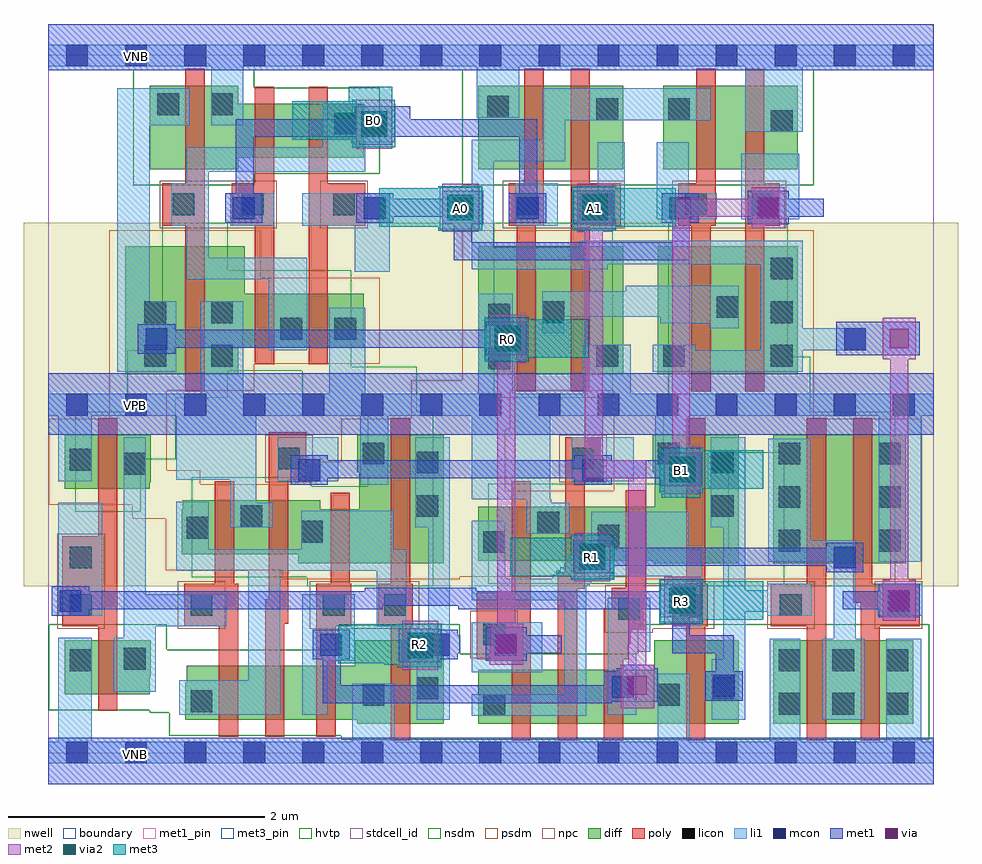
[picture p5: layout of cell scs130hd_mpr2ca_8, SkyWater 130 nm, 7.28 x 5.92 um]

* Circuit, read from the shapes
.subckt scs130hd_mpr2ca_8 A0 A1 B0 B1 R0 R1 R2 R3 VNB VPB vgnd vpwr
XM1 n1 R3 vgnd VNB sky130_fd_pr__nfet_01v8 w=0.42 l=0.15
XM2 vgnd n2 R0 VNB sky130_fd_pr__nfet_01v8 w=0.65 l=0.15
XM3 n3 n1 n4 VNB sky130_fd_pr__nfet_01v8 w=0.42 l=0.15
XM4 n5 B0 vgnd VNB sky130_fd_pr__nfet_01v8 w=0.42 l=0.15
XM5 n6 B1 n3 VNB sky130_fd_pr__nfet_01v8 w=0.42 l=0.15
XM6 n2 A0 n5 VNB sky130_fd_pr__nfet_01v8 w=0.42 l=0.15
XM7 vgnd A1 n6 VNB sky130_fd_pr__nfet_01v8 w=0.42 l=0.15
XM8 R2 n4 vgnd VNB sky130_fd_pr__nfet_01v8 w=0.65 l=0.15
XM9 n7 R0 n8 VNB sky130_fd_pr__nfet_01v8 w=0.42 l=0.15
XM10 n9 B0 vgnd VNB sky130_fd_pr__nfet_01v8 w=0.65 l=0.15
XM11 n10 B1 n7 VNB sky130_fd_pr__nfet_01v8 w=0.42 l=0.15
XM12 n11 A1 n9 VNB sky130_fd_pr__nfet_01v8 w=0.65 l=0.15
XM13 vgnd A1 n10 VNB sky130_fd_pr__nfet_01v8 w=0.42 l=0.15
XM14 R3 n8 vgnd VNB sky130_fd_pr__nfet_01v8 w=0.65 l=0.15
XM15 n12 A0 n11 VNB sky130_fd_pr__nfet_01v8 w=0.65 l=0.15
XM16 vgnd B1 n12 VNB sky130_fd_pr__nfet_01v8 w=0.65 l=0.15
XM17 R1 R3 vgnd VNB sky130_fd_pr__nfet_01v8 w=0.65 l=0.15
XM18 vgnd n11 R1 VNB sky130_fd_pr__nfet_01v8 w=0.65 l=0.15
XM19 n1 R3 vpwr VPB sky130_fd_pr__pfet_01v8_hvt w=0.42 l=0.15
XM20 vpwr n2 R0 VPB sky130_fd_pr__pfet_01v8_hvt w=1 l=0.15
XM21 vpwr n1 n4 VPB sky130_fd_pr__pfet_01v8_hvt w=0.42 l=0.15
XM22 n2 B0 vpwr VPB sky130_fd_pr__pfet_01v8_hvt w=0.42 l=0.15
XM23 n4 B1 vpwr VPB sky130_fd_pr__pfet_01v8_hvt w=0.42 l=0.15
XM24 vpwr A0 n2 VPB sky130_fd_pr__pfet_01v8_hvt w=0.42 l=0.15
XM25 vpwr A1 n4 VPB sky130_fd_pr__pfet_01v8_hvt w=0.42 l=0.15
XM26 R2 n4 vpwr VPB sky130_fd_pr__pfet_01v8_hvt w=1 l=0.15
XM27 vpwr R0 n8 VPB sky130_fd_pr__pfet_01v8_hvt w=0.42 l=0.15
XM28 n13 B0 vpwr VPB sky130_fd_pr__pfet_01v8_hvt w=1 l=0.15
XM29 n8 B1 vpwr VPB sky130_fd_pr__pfet_01v8_hvt w=0.42 l=0.15
XM30 vpwr A1 n13 VPB sky130_fd_pr__pfet_01v8_hvt w=1 l=0.15
XM31 vpwr A1 n8 VPB sky130_fd_pr__pfet_01v8_hvt w=0.42 l=0.15
XM32 R3 n8 vpwr VPB sky130_fd_pr__pfet_01v8_hvt w=1 l=0.15
XM33 n13 A0 n11 VPB sky130_fd_pr__pfet_01v8_hvt w=1 l=0.15
XM34 n11 B1 n13 VPB sky130_fd_pr__pfet_01v8_hvt w=1 l=0.15
XM35 n14 R3 R1 VPB sky130_fd_pr__pfet_01v8_hvt w=1 l=0.15
XM36 vpwr n11 n14 VPB sky130_fd_pr__pfet_01v8_hvt w=1 l=0.15
.ends

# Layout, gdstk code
import gdstk
lib = gdstk.Library(unit=1e-6, precision=1e-09)
def R(c, l, rs):  # rectangles x0, y0, x1, y1
    for r in rs: c.add(gdstk.rectangle(r[:2], r[2:], *l))
nwell = (64, 20)
diff = (65, 20)
poly = (66, 20)
licon = (66, 44)
li1 = (67, 20)
mcon = (67, 44)
met1_pin = (68, 16)
met1 = (68, 20)
via = (68, 44)
met2 = (69, 20)
via2 = (69, 44)
met3_pin = (70, 16)
met3 = (70, 20)
hvtp = (78, 44)
stdcell_id = (81, 4)
nsdm = (93, 44)
psdm = (94, 20)
npc = (95, 20)
boundary = (235, 4)

scs130hd_mpr2ca_8 = lib.new_cell('scs130hd_mpr2ca_8')
R(scs130hd_mpr2ca_8, nwell, [(-0.19,1.3,7.09,4.13), (-0.19,1.3,7.09,4.13)])
R(scs130hd_mpr2ca_8, diff, [(2.41,0.23,3.08,0.26), (2.41,0.23,3.08,0.26), (3.35,0.23,5.38,0.65), (3.35,0.23,5.38,0.65), (5.65,0.23,6.74,0.88), (5.65,0.23,6.74,0.88), (1.07,0.26,3.08,0.55), (1.07,0.26,3.08,0.55), (0.13,0.46,0.79,0.6), (0.13,0.46,0.79,0.6), (1.08,0.55,3.08,0.68), (1.08,0.55,3.08,0.68), (0.13,0.6,0.8,0.88), (0.13,0.6,0.8,0.88), (4.72,0.65,5.38,0.88), (4.72,0.65,5.38,0.88), (2.39,0.68,3.08,0.88), (2.39,0.68,3.08,0.88), (1.95,1.48,3.08,1.55), (1.95,1.48,3.08,1.55), (4.725,1.48,5.38,1.5), (4.725,1.48,5.38,1.5), (5.65,1.48,6.68,2.48), (5.65,1.48,6.68,2.48), (3.35,1.5,5.38,1.92), (3.35,1.5,5.38,1.92), (1.04,1.55,3.08,1.9), (1.04,1.55,3.08,1.9), (1.05,1.9,2.12,1.97), (1.05,1.9,2.12,1.97), (2.425,1.9,3.08,2.19), (2.425,1.9,3.08,2.19), (4.725,1.92,5.38,2.19), (4.725,1.92,5.38,2.19), (0.13,2.06,0.79,2.11), (0.13,2.06,0.79,2.11), (0.13,2.11,0.8,2.48), (0.13,2.11,0.8,2.48), (2.41,2.19,3.08,2.48), (2.41,2.19,3.08,2.48), (4.71,2.19,5.38,2.48), (4.71,2.19,5.38,2.48), (0.6,2.95,1.48,3.16), (0.6,2.95,1.48,3.16), (3.35,2.95,4.48,3.95), (3.35,2.95,4.48,3.95), (4.75,2.95,5.84,3.95), (4.75,2.95,5.84,3.95), (0.6,3.16,2.46,3.58), (0.6,3.16,2.46,3.58), (0.6,3.58,1.53,3.95), (0.6,3.58,1.53,3.95), (0.79,4.55,1.48,4.64), (0.79,4.55,1.48,4.64), (3.35,4.55,4.48,5.2), (3.35,4.55,4.48,5.2), (4.79,4.55,5.84,5.2), (4.79,4.55,5.84,5.2), (0.79,4.64,2.46,5.06), (0.79,4.64,2.46,5.06), (0.79,5.06,1.48,5.2), (0.79,5.06,1.48,5.2)])
R(scs130hd_mpr2ca_8, poly, [(2.67,0.1,2.82,0.99), (2.67,0.1,2.82,0.99), (3.61,0.1,3.76,0.73), (3.61,0.1,3.76,0.73), (3.97,0.1,4.12,1.28), (3.97,0.1,4.12,1.28), (4.33,0.1,4.48,0.73), (4.33,0.1,4.48,0.73), (4.97,0.1,5.12,0.99), (4.97,0.1,5.12,0.99), (5.91,0.1,6.06,0.99), (5.91,0.1,6.06,0.99), (6.33,0.1,6.48,0.99), (6.33,0.1,6.48,0.99), (1.33,0.13,1.48,0.99), (1.33,0.13,1.48,0.99), (1.69,0.13,1.84,1.01), (1.69,0.13,1.84,1.01), (2.09,0.13,2.24,0.99), (2.09,0.13,2.24,0.99), (0.39,0.33,0.54,0.99), (0.39,0.33,0.54,0.99), (3.34,0.73,3.76,1.25), (3.34,0.73,3.76,1.25), (4.33,0.73,4.52,0.85), (4.33,0.73,4.52,0.85), (4.33,0.85,4.54,0.96), (4.33,0.85,4.54,0.96), (4.33,0.96,4.66,1.13), (4.33,0.96,4.66,1.13), (0.11,0.99,0.54,1.69), (0.11,0.99,0.54,1.69), (1.06,0.99,1.48,1.32), (1.06,0.99,1.48,1.32), (2.09,0.99,2.36,1.32), (2.09,0.99,2.36,1.32), (2.57,0.99,2.84,1.32), (2.57,0.99,2.84,1.32), (4.87,0.99,5.14,1.32), (4.87,0.99,5.14,1.32), (5.63,0.99,6.06,1.32), (5.63,0.99,6.06,1.32), (6.33,0.99,6.79,1.17), (6.33,0.99,6.79,1.17), (1.69,1.01,1.87,1.2), (1.69,1.01,1.87,1.2), (4.39,1.13,4.66,1.29), (4.39,1.13,4.66,1.29), (6.27,1.17,6.79,1.32), (6.27,1.17,6.79,1.32), (1.72,1.2,1.87,2.13), (1.72,1.2,1.87,2.13), (3.61,1.25,3.76,2.12), (3.61,1.25,3.76,2.12), (3.97,1.28,4.18,1.41), (3.97,1.28,4.18,1.41), (4.5,1.29,4.65,2.05), (4.5,1.29,4.65,2.05), (1.3,1.32,1.45,2.12), (1.3,1.32,1.45,2.12), (2.2,1.32,2.35,2.03), (2.2,1.32,2.35,2.03), (2.67,1.32,2.82,2.61), (2.67,1.32,2.82,2.61), (4.97,1.32,5.12,2.61), (4.97,1.32,5.12,2.61), (5.91,1.32,6.06,2.61), (5.91,1.32,6.06,2.61), (6.27,1.32,6.42,2.61), (6.27,1.32,6.42,2.61), (4.03,1.41,4.18,2.13), (4.03,1.41,4.18,2.13), (0.39,1.69,0.54,2.61), (0.39,1.69,0.54,2.61), (1.72,2.13,2.01,2.5), (1.72,2.13,2.01,2.5), (4.03,2.13,4.3,2.46), (4.03,2.13,4.3,2.46), (1.07,2.82,1.22,4.11), (1.07,2.82,1.22,4.11), (3.65,2.82,3.8,4.11), (3.65,2.82,3.8,4.11), (4.07,2.82,4.22,4.11), (4.07,2.82,4.22,4.11), (5.01,2.82,5.16,4.11), (5.01,2.82,5.16,4.11), (5.43,2.82,5.58,4.11), (5.43,2.82,5.58,4.11), (1.61,3.03,1.76,4.11), (1.61,3.03,1.76,4.11), (2.03,3.03,2.18,4.11), (2.03,3.03,2.18,4.11), (0.89,4.11,1.22,4.44), (0.89,4.11,1.22,4.44), (1.43,4.11,1.76,4.44), (1.43,4.11,1.76,4.44), (2.03,4.11,2.47,4.44), (2.03,4.11,2.47,4.44), (3.59,4.11,3.86,4.44), (3.59,4.11,3.86,4.44), (4.07,4.11,4.46,4.44), (4.07,4.11,4.46,4.44), (4.91,4.11,5.2,4.44), (4.91,4.11,5.2,4.44), (5.43,4.11,5.7,4.44), (5.43,4.11,5.7,4.44), (1.07,4.44,1.22,5.33), (1.07,4.44,1.22,5.33), (1.61,4.44,1.76,5.19), (1.61,4.44,1.76,5.19), (2.03,4.44,2.18,5.19), (2.03,4.44,2.18,5.19), (3.71,4.44,3.86,5.33), (3.71,4.44,3.86,5.33), (4.07,4.44,4.22,5.33), (4.07,4.44,4.22,5.33), (5.05,4.44,5.2,5.33), (5.05,4.44,5.2,5.33), (5.43,4.44,5.58,5.33), (5.43,4.44,5.58,5.33)])
R(scs130hd_mpr2ca_8, licon, [(3.39,0.29,3.56,0.46), (3.39,0.29,3.56,0.46), (5.69,0.3,5.86,0.47), (5.69,0.3,5.86,0.47), (6.11,0.3,6.28,0.47), (6.11,0.3,6.28,0.47), (6.53,0.3,6.7,0.47), (6.53,0.3,6.7,0.47), (1.11,0.32,1.28,0.49), (1.11,0.32,1.28,0.49), (2.45,0.37,2.62,0.54), (2.45,0.37,2.62,0.54), (4.75,0.37,4.92,0.54), (4.75,0.37,4.92,0.54), (2.87,0.42,3.04,0.59), (2.87,0.42,3.04,0.59), (5.17,0.42,5.34,0.59), (5.17,0.42,5.34,0.59), (0.17,0.64,0.34,0.81), (0.17,0.64,0.34,0.81), (5.69,0.64,5.86,0.81), (5.69,0.64,5.86,0.81), (6.11,0.64,6.28,0.81), (6.11,0.64,6.28,0.81), (6.53,0.64,6.7,0.81), (6.53,0.64,6.7,0.81), (0.59,0.65,0.76,0.82), (0.59,0.65,0.76,0.82), (3.39,0.84,3.56,1.01), (3.39,0.84,3.56,1.01), (4.44,1.04,4.61,1.21), (4.44,1.04,4.61,1.21), (0.17,1.07,0.34,1.24), (0.17,1.07,0.34,1.24), (1.11,1.07,1.28,1.24), (1.11,1.07,1.28,1.24), (2.14,1.07,2.31,1.24), (2.14,1.07,2.31,1.24), (2.62,1.07,2.79,1.24), (2.62,1.07,2.79,1.24), (4.92,1.07,5.09,1.24), (4.92,1.07,5.09,1.24), (5.7,1.07,5.87,1.24), (5.7,1.07,5.87,1.24), (6.54,1.07,6.71,1.24), (6.54,1.07,6.71,1.24), (0.17,1.44,0.34,1.61), (0.17,1.44,0.34,1.61), (3.39,1.56,3.56,1.73), (3.39,1.56,3.56,1.73), (5.69,1.57,5.86,1.74), (5.69,1.57,5.86,1.74), (6.47,1.57,6.64,1.74), (6.47,1.57,6.64,1.74), (4.28,1.61,4.45,1.78), (4.28,1.61,4.45,1.78), (1.97,1.64,2.14,1.81), (1.97,1.64,2.14,1.81), (1.08,1.67,1.25,1.84), (1.08,1.67,1.25,1.84), (3.81,1.71,3.98,1.88), (3.81,1.71,3.98,1.88), (1.5,1.76,1.67,1.93), (1.5,1.76,1.67,1.93), (2.87,1.84,3.04,2.01), (2.87,1.84,3.04,2.01), (5.17,1.84,5.34,2.01), (5.17,1.84,5.34,2.01), (5.69,1.91,5.86,2.08), (5.69,1.91,5.86,2.08), (6.47,1.91,6.64,2.08), (6.47,1.91,6.64,2.08), (0.59,2.17,0.76,2.34), (0.59,2.17,0.76,2.34), (2.87,2.18,3.04,2.35), (2.87,2.18,3.04,2.35), (5.17,2.18,5.34,2.35), (5.17,2.18,5.34,2.35), (0.17,2.2,0.34,2.37), (0.17,2.2,0.34,2.37), (1.79,2.21,1.96,2.38), (1.79,2.21,1.96,2.38), (4.08,2.21,4.25,2.38), (4.08,2.21,4.25,2.38), (2.45,2.25,2.62,2.42), (2.45,2.25,2.62,2.42), (4.75,2.25,4.92,2.42), (4.75,2.25,4.92,2.42), (5.69,2.25,5.86,2.42), (5.69,2.25,5.86,2.42), (6.47,2.25,6.64,2.42), (6.47,2.25,6.64,2.42), (3.43,2.99,3.6,3.16), (3.43,2.99,3.6,3.16), (0.75,3.01,0.92,3.18), (0.75,3.01,0.92,3.18), (1.27,3.01,1.44,3.18), (1.27,3.01,1.44,3.18), (4.27,3.01,4.44,3.18), (4.27,3.01,4.44,3.18), (4.79,3.01,4.96,3.18), (4.79,3.01,4.96,3.18), (5.63,3.01,5.8,3.18), (5.63,3.01,5.8,3.18), (1.81,3.22,1.98,3.39), (1.81,3.22,1.98,3.39), (2.23,3.22,2.4,3.39), (2.23,3.22,2.4,3.39), (3.43,3.33,3.6,3.5), (3.43,3.33,3.6,3.5), (0.75,3.35,0.92,3.52), (0.75,3.35,0.92,3.52), (1.27,3.35,1.44,3.52), (1.27,3.35,1.44,3.52), (3.85,3.35,4.02,3.52), (3.85,3.35,4.02,3.52), (5.63,3.35,5.8,3.52), (5.63,3.35,5.8,3.52), (5.21,3.39,5.38,3.56), (5.21,3.39,5.38,3.56), (5.63,3.69,5.8,3.86), (5.63,3.69,5.8,3.86), (0.97,4.19,1.14,4.36), (0.97,4.19,1.14,4.36), (1.51,4.19,1.68,4.36), (1.51,4.19,1.68,4.36), (2.22,4.19,2.39,4.36), (2.22,4.19,2.39,4.36), (3.64,4.19,3.81,4.36), (3.64,4.19,3.81,4.36), (4.22,4.19,4.39,4.36), (4.22,4.19,4.39,4.36), (4.96,4.19,5.13,4.36), (4.96,4.19,5.13,4.36), (5.48,4.19,5.65,4.36), (5.48,4.19,5.65,4.36), (2.23,4.82,2.4,4.99), (2.23,4.82,2.4,4.99), (5.63,4.84,5.8,5.01), (5.63,4.84,5.8,5.01), (4.27,4.93,4.44,5.1), (4.27,4.93,4.44,5.1), (4.83,4.93,5,5.1), (4.83,4.93,5,5.1), (3.42,4.95,3.59,5.12), (3.42,4.95,3.59,5.12), (0.85,4.97,1.02,5.14), (0.85,4.97,1.02,5.14), (1.27,4.97,1.44,5.14), (1.27,4.97,1.44,5.14)])
R(scs130hd_mpr2ca_8, li1, [(0,-0.08,6.9,0.09), (0,-0.08,6.9,0.09), (0.08,0.09,0.34,0.9), (0.08,0.09,0.34,0.9), (2.37,0.09,2.7,0.54), (2.37,0.09,2.7,0.54), (4.75,0.09,5,0.62), (4.75,0.09,5,0.62), (5.62,0.09,5.86,0.89), (5.62,0.09,5.86,0.89), (6.53,0.09,6.8,0.89), (6.53,0.09,6.8,0.89), (2.87,0.26,3.13,0.73), (2.87,0.26,3.13,0.73), (5.17,0.26,5.43,0.73), (5.17,0.26,5.43,0.73), (6.03,0.26,6.36,0.89), (6.03,0.26,6.36,0.89), (3.3,0.29,4.19,0.46), (3.3,0.29,4.19,0.46), (1.02,0.3,1.81,0.57), (1.02,0.3,1.81,0.57), (1.98,0.3,2.18,0.72), (1.98,0.3,2.18,0.72), (4.36,0.3,4.58,0.79), (4.36,0.3,4.58,0.79), (4.02,0.46,4.19,1.19), (4.02,0.46,4.19,1.19), (0.51,0.48,0.84,0.9), (0.51,0.48,0.84,0.9), (1.56,0.57,1.81,1.42), (1.56,0.57,1.81,1.42), (3.3,0.63,3.85,1.02), (3.3,0.63,3.85,1.02), (1.98,0.72,2.39,1.24), (1.98,0.72,2.39,1.24), (2.96,0.73,3.13,1.76), (2.96,0.73,3.13,1.76), (5.26,0.73,5.43,1.1), (5.26,0.73,5.43,1.1), (4.36,0.79,4.69,1.21), (4.36,0.79,4.69,1.21), (6.12,0.89,6.29,1.49), (6.12,0.89,6.29,1.49), (0.59,0.9,0.84,0.99), (0.59,0.9,0.84,0.99), (0.59,0.99,1.39,1.24), (0.59,0.99,1.39,1.24), (2.56,0.99,2.79,1.42), (2.56,0.99,2.79,1.42), (4.86,0.99,5.09,1.38), (4.86,0.99,5.09,1.38), (0.08,1.07,0.42,1.95), (0.08,1.07,0.42,1.95), (5.6,1.07,5.95,1.1), (5.6,1.07,5.95,1.1), (6.46,1.07,6.81,1.32), (6.46,1.07,6.81,1.32), (5.26,1.1,5.95,1.27), (5.26,1.1,5.95,1.27), (3.3,1.19,4.19,1.31), (3.3,1.19,4.19,1.31), (0.59,1.24,0.76,2.46), (0.59,1.24,0.76,2.46), (5.26,1.27,5.43,1.76), (5.26,1.27,5.43,1.76), (5.6,1.27,5.95,1.32), (5.6,1.27,5.95,1.32), (3.3,1.31,4.22,1.32), (3.3,1.31,4.22,1.32), (3.3,1.32,4.23,1.34), (3.3,1.32,4.23,1.34), (3.3,1.34,4.25,1.35), (3.3,1.34,4.25,1.35), (3.3,1.35,4.26,1.36), (3.3,1.35,4.26,1.36), (3.3,1.36,3.56,1.81), (3.3,1.36,3.56,1.81), (3.93,1.36,4.28,1.37), (3.93,1.36,4.28,1.37), (3.93,1.37,4.29,1.38), (3.93,1.37,4.29,1.38), (3.93,1.38,5.09,1.39), (3.93,1.38,5.09,1.39), (3.96,1.39,5.09,1.42), (3.96,1.39,5.09,1.42), (1,1.42,2.79,1.59), (1,1.42,2.79,1.59), (3.99,1.42,5.09,1.45), (3.99,1.42,5.09,1.45), (4.02,1.45,5.09,1.48), (4.02,1.45,5.09,1.48), (4.04,1.48,5.09,1.51), (4.04,1.48,5.09,1.51), (5.61,1.49,6.29,1.66), (5.61,1.49,6.29,1.66), (6.47,1.49,6.8,2.63), (6.47,1.49,6.8,2.63), (4.06,1.51,5.09,1.54), (4.06,1.51,5.09,1.54), (4.13,1.54,5.09,1.55), (4.13,1.54,5.09,1.55), (4.16,1.55,5.09,1.56), (4.16,1.55,5.09,1.56), (4.18,1.56,5.09,1.57), (4.18,1.56,5.09,1.57), (4.2,1.57,5.09,1.59), (4.2,1.57,5.09,1.59), (1,1.59,1.25,1.96), (1,1.59,1.25,1.96), (1.97,1.59,2.69,1.89), (1.97,1.59,2.69,1.89), (4.2,1.59,4.99,1.6), (4.2,1.59,4.99,1.6), (4.22,1.6,4.99,1.63), (4.22,1.6,4.99,1.63), (4.23,1.63,4.99,1.88), (4.23,1.63,4.99,1.88), (5.61,1.66,5.94,2.45), (5.61,1.66,5.94,2.45), (3.73,1.71,4.06,1.95), (3.73,1.71,4.06,1.95), (1.42,1.76,1.75,1.95), (1.42,1.76,1.75,1.95), (2.86,1.76,3.13,2.46), (2.86,1.76,3.13,2.46), (5.16,1.76,5.43,2.46), (5.16,1.76,5.43,2.46), (1.42,1.95,1.62,2.13), (1.42,1.95,1.62,2.13), (3.73,1.95,3.92,1.98), (3.73,1.95,3.92,1.98), (3.3,1.98,3.91,2.63), (3.3,1.98,3.91,2.63), (2.43,2.09,2.65,2.63), (2.43,2.09,2.65,2.63), (4.73,2.09,4.99,2.63), (4.73,2.09,4.99,2.63), (0.08,2.12,0.34,2.63), (0.08,2.12,0.34,2.63), (1.79,2.12,2.26,2.46), (1.79,2.12,2.26,2.46), (4.08,2.12,4.56,2.46), (4.08,2.12,4.56,2.46), (1,2.13,1.62,2.63), (1,2.13,1.62,2.63), (0,2.63,6.9,2.8), (0,2.63,6.9,2.8), (1.19,2.8,1.52,3.52), (1.19,2.8,1.52,3.52), (2.19,2.8,2.47,3.47), (2.19,2.8,2.47,3.47), (3.35,2.8,3.62,3.58), (3.35,2.8,3.62,3.58), (4.17,2.8,4.54,3.18), (4.17,2.8,4.54,3.18), (0.54,2.97,1,3.52), (0.54,2.97,1,3.52), (4.71,2.97,5.88,3.14), (4.71,2.97,5.88,3.14), (1.72,3.14,2.02,3.69), (1.72,3.14,2.02,3.69), (4.71,3.14,5.04,3.18), (4.71,3.14,5.04,3.18), (5.55,3.14,6.37,3.31), (5.55,3.14,6.37,3.31), (3.85,3.27,4.02,3.4), (3.85,3.27,4.02,3.4), (5.15,3.31,5.38,3.35), (5.15,3.31,5.38,3.35), (5.55,3.31,5.88,3.81), (5.55,3.31,5.88,3.81), (4.77,3.35,5.38,3.4), (4.77,3.35,5.38,3.4), (3.85,3.4,5.38,3.6), (3.85,3.4,5.38,3.6), (0.54,3.52,0.79,4.89), (0.54,3.52,0.79,4.89), (4.5,3.6,5.38,3.64), (4.5,3.6,5.38,3.64), (1.08,3.69,2.02,3.86), (1.08,3.69,2.02,3.86), (2.39,3.75,2.66,4.11), (2.39,3.75,2.66,4.11), (3.3,3.77,4.36,3.81), (3.3,3.77,4.36,3.81), (3.3,3.81,5.88,3.94), (3.3,3.81,5.88,3.94), (1.08,3.86,1.25,4.11), (1.08,3.86,1.25,4.11), (3.3,3.94,3.47,4.61), (3.3,3.94,3.47,4.61), (4.14,3.94,5.88,3.99), (4.14,3.94,5.88,3.99), (0.96,4.11,1.25,4.44), (0.96,4.11,1.25,4.44), (1.42,4.11,1.76,4.36), (1.42,4.11,1.76,4.36), (1.98,4.11,2.66,4.36), (1.98,4.11,2.66,4.36), (3.64,4.11,3.97,4.44), (3.64,4.11,3.97,4.44), (4.14,4.16,4.49,4.36), (4.14,4.16,4.49,4.36), (4.74,4.16,5.21,4.36), (4.74,4.16,5.21,4.36), (5.4,4.16,5.85,4.67), (5.4,4.16,5.85,4.67), (4.28,4.36,4.49,4.76), (4.28,4.36,4.49,4.76), (4.74,4.36,4.99,4.76), (4.74,4.36,4.99,4.76), (1.08,4.44,1.25,4.53), (1.08,4.44,1.25,4.53), (1.08,4.53,2.47,4.72), (1.08,4.53,2.47,4.72), (3.3,4.61,4.03,4.78), (3.3,4.61,4.03,4.78), (2.14,4.72,2.47,5.05), (2.14,4.72,2.47,5.05), (3.85,4.78,4.03,4.93), (3.85,4.78,4.03,4.93), (5.43,4.84,5.88,5.35), (5.43,4.84,5.88,5.35), (0.54,4.89,1.1,5.18), (0.54,4.89,1.1,5.18), (1.27,4.89,1.52,5.35), (1.27,4.89,1.52,5.35), (3.85,4.93,5.16,5.18), (3.85,4.93,5.16,5.18), (3.34,4.95,3.67,5.35), (3.34,4.95,3.67,5.35), (2.14,5.05,2.4,5.08), (2.14,5.05,2.4,5.08), (0,5.35,6.9,5.52), (0,5.35,6.9,5.52)])
R(scs130hd_mpr2ca_8, mcon, [(0.14,-0.08,0.31,0.09), (0.14,-0.08,0.31,0.09), (0.6,-0.08,0.77,0.09), (0.6,-0.08,0.77,0.09), (1.06,-0.08,1.23,0.09), (1.06,-0.08,1.23,0.09), (1.52,-0.08,1.69,0.09), (1.52,-0.08,1.69,0.09), (1.98,-0.08,2.15,0.09), (1.98,-0.08,2.15,0.09), (2.44,-0.08,2.61,0.09), (2.44,-0.08,2.61,0.09), (2.9,-0.08,3.07,0.09), (2.9,-0.08,3.07,0.09), (3.36,-0.08,3.53,0.09), (3.36,-0.08,3.53,0.09), (3.82,-0.08,3.99,0.09), (3.82,-0.08,3.99,0.09), (4.28,-0.08,4.45,0.09), (4.28,-0.08,4.45,0.09), (4.74,-0.08,4.91,0.09), (4.74,-0.08,4.91,0.09), (5.2,-0.08,5.37,0.09), (5.2,-0.08,5.37,0.09), (5.66,-0.08,5.83,0.09), (5.66,-0.08,5.83,0.09), (6.12,-0.08,6.29,0.09), (6.12,-0.08,6.29,0.09), (6.58,-0.08,6.75,0.09), (6.58,-0.08,6.75,0.09), (4.39,0.43,4.56,0.6), (4.39,0.43,4.56,0.6), (5.18,0.44,5.35,0.61), (5.18,0.44,5.35,0.61), (2.12,0.76,2.29,0.93), (2.12,0.76,2.29,0.93), (2.96,0.76,3.13,0.93), (2.96,0.76,3.13,0.93), (3.48,0.76,3.65,0.93), (3.48,0.76,3.65,0.93), (0.09,1.1,0.26,1.27), (0.09,1.1,0.26,1.27), (6.54,1.1,6.71,1.27), (6.54,1.1,6.71,1.27), (6.12,1.44,6.29,1.61), (6.12,1.44,6.29,1.61), (1.95,2.12,2.12,2.29), (1.95,2.12,2.12,2.29), (4.16,2.12,4.33,2.29), (4.16,2.12,4.33,2.29), (0.14,2.63,0.31,2.8), (0.14,2.63,0.31,2.8), (0.6,2.63,0.77,2.8), (0.6,2.63,0.77,2.8), (1.06,2.63,1.23,2.8), (1.06,2.63,1.23,2.8), (1.52,2.63,1.69,2.8), (1.52,2.63,1.69,2.8), (1.98,2.63,2.15,2.8), (1.98,2.63,2.15,2.8), (2.44,2.63,2.61,2.8), (2.44,2.63,2.61,2.8), (2.9,2.63,3.07,2.8), (2.9,2.63,3.07,2.8), (3.36,2.63,3.53,2.8), (3.36,2.63,3.53,2.8), (3.82,2.63,3.99,2.8), (3.82,2.63,3.99,2.8), (4.28,2.63,4.45,2.8), (4.28,2.63,4.45,2.8), (4.74,2.63,4.91,2.8), (4.74,2.63,4.91,2.8), (5.2,2.63,5.37,2.8), (5.2,2.63,5.37,2.8), (5.66,2.63,5.83,2.8), (5.66,2.63,5.83,2.8), (6.12,2.63,6.29,2.8), (6.12,2.63,6.29,2.8), (6.58,2.63,6.75,2.8), (6.58,2.63,6.75,2.8), (0.76,3.14,0.93,3.31), (0.76,3.14,0.93,3.31), (6.2,3.14,6.37,3.31), (6.2,3.14,6.37,3.31), (1.44,4.16,1.61,4.33), (1.44,4.16,1.61,4.33), (2.46,4.16,2.63,4.33), (2.46,4.16,2.63,4.33), (3.65,4.16,3.82,4.33), (3.65,4.16,3.82,4.33), (4.16,4.16,4.33,4.33), (4.16,4.16,4.33,4.33), (4.84,4.16,5.01,4.33), (4.84,4.16,5.01,4.33), (5.52,4.16,5.69,4.33), (5.52,4.16,5.69,4.33), (0.14,5.35,0.31,5.52), (0.14,5.35,0.31,5.52), (0.6,5.35,0.77,5.52), (0.6,5.35,0.77,5.52), (1.06,5.35,1.23,5.52), (1.06,5.35,1.23,5.52), (1.52,5.35,1.69,5.52), (1.52,5.35,1.69,5.52), (1.98,5.35,2.15,5.52), (1.98,5.35,2.15,5.52), (2.44,5.35,2.61,5.52), (2.44,5.35,2.61,5.52), (2.9,5.35,3.07,5.52), (2.9,5.35,3.07,5.52), (3.36,5.35,3.53,5.52), (3.36,5.35,3.53,5.52), (3.82,5.35,3.99,5.52), (3.82,5.35,3.99,5.52), (4.28,5.35,4.45,5.52), (4.28,5.35,4.45,5.52), (4.74,5.35,4.91,5.52), (4.74,5.35,4.91,5.52), (5.2,5.35,5.37,5.52), (5.2,5.35,5.37,5.52), (5.66,5.35,5.83,5.52), (5.66,5.35,5.83,5.52), (6.12,5.35,6.29,5.52), (6.12,5.35,6.29,5.52), (6.58,5.35,6.75,5.52), (6.58,5.35,6.75,5.52)])
R(scs130hd_mpr2ca_8, met1_pin, [(2.73,0.68,3.06,1.01), (2.73,0.68,3.06,1.01)])
R(scs130hd_mpr2ca_8, met1, [(0,-0.24,6.9,0.12), (0,-0.24,6.9,0.12), (2.14,0.39,4.39,0.4), (2.14,0.39,4.39,0.4), (2.14,0.4,4.75,0.53), (2.14,0.4,4.75,0.53), (5.12,0.41,5.41,0.64), (5.12,0.41,5.41,0.64), (2.14,0.53,2.28,0.73), (2.14,0.53,2.28,0.73), (4.33,0.53,4.75,0.64), (4.33,0.53,4.75,0.64), (4.43,0.64,4.75,0.66), (4.43,0.64,4.75,0.66), (5.2,0.64,5.34,0.78), (5.2,0.64,5.34,0.78), (4.46,0.66,4.72,0.69), (4.46,0.66,4.72,0.69), (2.73,0.71,3.05,0.73), (2.73,0.71,3.05,0.73), (3.41,0.72,3.73,0.78), (3.41,0.72,3.73,0.78), (2.06,0.73,2.35,0.96), (2.06,0.73,2.35,0.96), (2.73,0.73,3.19,0.78), (2.73,0.73,3.19,0.78), (2.73,0.78,3.21,0.92), (2.73,0.78,3.21,0.92), (3.41,0.78,4,0.92), (3.41,0.78,4,0.92), (4.86,0.78,5.34,0.92), (4.86,0.78,5.34,0.92), (2.73,0.92,3.19,0.96), (2.73,0.92,3.19,0.96), (3.41,0.92,3.73,0.98), (3.41,0.92,3.73,0.98), (4.86,0.92,5,1.06), (4.86,0.92,5,1.06), (2.73,0.96,3.05,0.97), (2.73,0.96,3.05,0.97), (4.77,1.06,5.09,1.12), (4.77,1.06,5.09,1.12), (6.47,1.06,6.79,1.12), (6.47,1.06,6.79,1.12), (0.03,1.07,0.32,1.12), (0.03,1.07,0.32,1.12), (0.03,1.12,2.605,1.15), (0.03,1.12,2.605,1.15), (3.195,1.12,5.09,1.15), (3.195,1.12,5.09,1.15), (6.19,1.12,6.79,1.26), (6.19,1.12,6.79,1.26), (0.03,1.15,5.09,1.26), (0.03,1.15,5.09,1.26), (0.03,1.26,0.32,1.3), (0.03,1.26,0.32,1.3), (2.465,1.26,3.335,1.29), (2.465,1.26,3.335,1.29), (4.77,1.26,5.09,1.32), (4.77,1.26,5.09,1.32), (6.47,1.26,6.79,1.32), (6.47,1.26,6.79,1.32), (4.09,1.4,4.41,1.46), (4.09,1.4,4.41,1.46), (6.06,1.41,6.35,1.46), (6.06,1.41,6.35,1.46), (4.09,1.46,6.35,1.6), (4.09,1.46,6.35,1.6), (4.09,1.6,4.41,1.66), (4.09,1.6,4.41,1.66), (6.06,1.6,6.35,1.64), (6.06,1.6,6.35,1.64), (4.77,2.08,5.09,2.14), (4.77,2.08,5.09,2.14), (1.89,2.09,2.18,2.14), (1.89,2.09,2.18,2.14), (4.1,2.09,4.39,2.14), (4.1,2.09,4.39,2.14), (1.89,2.14,5.09,2.28), (1.89,2.14,5.09,2.28), (1.89,2.28,2.18,2.32), (1.89,2.28,2.18,2.32), (4.1,2.28,4.39,2.32), (4.1,2.28,4.39,2.32), (4.77,2.28,5.09,2.34), (4.77,2.28,5.09,2.34), (0,2.48,6.9,2.96), (0,2.48,6.9,2.96), (3.41,3.1,3.73,3.16), (3.41,3.1,3.73,3.16), (6.14,3.1,6.79,3.36), (6.14,3.1,6.79,3.36), (0.7,3.11,0.99,3.16), (0.7,3.11,0.99,3.16), (0.7,3.16,3.73,3.3), (0.7,3.16,3.73,3.3), (0.7,3.3,0.99,3.34), (0.7,3.3,0.99,3.34), (3.41,3.3,3.73,3.36), (3.41,3.3,3.73,3.36), (3.16,3.84,5,3.98), (3.16,3.84,5,3.98), (3.16,3.98,3.3,4.12), (3.16,3.98,3.3,4.12), (4.86,3.98,5,4.13), (4.86,3.98,5,4.13), (3.07,4.12,3.39,4.18), (3.07,4.12,3.39,4.18), (4.09,4.12,4.41,4.38), (4.09,4.12,4.41,4.38), (5.45,4.12,5.77,4.18), (5.45,4.12,5.77,4.18), (1.38,4.13,1.67,4.36), (1.38,4.13,1.67,4.36), (2.4,4.13,2.69,4.18), (2.4,4.13,2.69,4.18), (3.59,4.13,3.88,4.36), (3.59,4.13,3.88,4.36), (4.78,4.13,5.07,4.36), (4.78,4.13,5.07,4.36), (2.4,4.18,3.39,4.32), (2.4,4.18,3.39,4.32), (5.45,4.18,6.04,4.32), (5.45,4.18,6.04,4.32), (2.4,4.32,2.69,4.36), (2.4,4.32,2.69,4.36), (3.07,4.32,3.39,4.38), (3.07,4.32,3.39,4.38), (5.45,4.32,5.77,4.38), (5.45,4.32,5.77,4.38), (1.46,4.36,1.6,4.8), (1.46,4.36,1.6,4.8), (3.67,4.36,3.81,4.8), (3.67,4.36,3.81,4.8), (2.42,4.74,2.68,4.77), (2.42,4.74,2.68,4.77), (2.4,4.77,2.68,4.8), (2.4,4.77,2.68,4.8), (1.46,4.8,3.81,4.94), (1.46,4.8,3.81,4.94), (2.39,4.94,2.82,5.04), (2.39,4.94,2.82,5.04), (0,5.32,6.9,5.68), (0,5.32,6.9,5.68)])
R(scs130hd_mpr2ca_8, via, [(4.515,0.455,4.665,0.605), (4.515,0.455,4.665,0.605), (2.815,0.765,2.965,0.915), (2.815,0.765,2.965,0.915), (3.495,0.775,3.645,0.925), (3.495,0.775,3.645,0.925), (4.855,1.115,5.005,1.265), (4.855,1.115,5.005,1.265), (6.555,1.115,6.705,1.265), (6.555,1.115,6.705,1.265), (4.175,1.455,4.325,1.605), (4.175,1.455,4.325,1.605), (4.855,2.135,5.005,2.285), (4.855,2.135,5.005,2.285), (3.495,3.155,3.645,3.305), (3.495,3.155,3.645,3.305), (6.555,3.155,6.705,3.305), (6.555,3.155,6.705,3.305), (3.155,4.175,3.305,4.325), (3.155,4.175,3.305,4.325), (4.175,4.175,4.325,4.325), (4.175,4.175,4.325,4.325), (5.535,4.175,5.685,4.325), (5.535,4.175,5.685,4.325), (2.475,4.825,2.625,4.975), (2.475,4.825,2.625,4.975)])
R(scs130hd_mpr2ca_8, met2, [(4.46,0.35,4.72,0.69), (4.46,0.35,4.72,0.69), (2.76,0.65,3.04,1.03), (2.76,0.65,3.04,1.03), (3.44,0.69,3.7,1.01), (3.44,0.69,3.7,1.01), (4.52,0.69,4.66,2.14), (4.52,0.69,4.66,2.14), (4.8,1,5.08,1.375), (4.8,1,5.08,1.375), (3.5,1.01,3.64,3.04), (3.5,1.01,3.64,3.04), (6.5,1.03,6.76,1.35), (6.5,1.03,6.76,1.35), (4.1,1.34,4.38,1.715), (4.1,1.34,4.38,1.715), (6.56,1.35,6.7,3.07), (6.56,1.35,6.7,3.07), (4.8,2.02,5.08,2.395), (4.8,2.02,5.08,2.395), (4.18,2.14,4.66,2.28), (4.18,2.14,4.66,2.28), (4.18,2.28,4.32,4.06), (4.18,2.28,4.32,4.06), (4.86,2.395,5,4.18), (4.86,2.395,5,4.18), (3.44,3.04,3.72,3.415), (3.44,3.04,3.72,3.415), (6.5,3.07,6.76,3.39), (6.5,3.07,6.76,3.39), (3.07,4.06,3.35,4.09), (3.07,4.06,3.35,4.09), (4.12,4.06,4.4,4.435), (4.12,4.06,4.4,4.435), (3.07,4.09,3.36,4.41), (3.07,4.09,3.36,4.41), (5.48,4.09,5.74,4.18), (5.48,4.09,5.74,4.18), (4.86,4.18,5.74,4.32), (4.86,4.18,5.74,4.32), (5.48,4.32,5.74,4.41), (5.48,4.32,5.74,4.41), (3.07,4.41,3.35,4.435), (3.07,4.41,3.35,4.435), (2.4,4.71,2.68,5.09), (2.4,4.71,2.68,5.09)])
R(scs130hd_mpr2ca_8, via2, [(2.8,0.74,3,0.94), (2.8,0.74,3,0.94), (4.84,1.09,5.04,1.29), (4.84,1.09,5.04,1.29), (4.14,1.43,4.34,1.63), (4.14,1.43,4.34,1.63), (4.84,2.11,5.04,2.31), (4.84,2.11,5.04,2.31), (3.48,3.13,3.68,3.33), (3.48,3.13,3.68,3.33), (3.11,4.15,3.31,4.35), (3.11,4.15,3.31,4.35), (4.16,4.15,4.36,4.35), (4.16,4.15,4.36,4.35), (2.44,4.8,2.64,5), (2.44,4.8,2.64,5)])
R(scs130hd_mpr2ca_8, met3_pin, [(4.77,1.02,5.1,1.35), (4.77,1.02,5.1,1.35), (4.07,1.36,4.4,1.69), (4.07,1.36,4.4,1.69), (4.77,2.04,5.1,2.37), (4.77,2.04,5.1,2.37), (3.41,3.06,3.74,3.39), (3.41,3.06,3.74,3.39), (3.05,4.08,3.38,4.41), (3.05,4.08,3.38,4.41), (4.09,4.08,4.42,4.41), (4.09,4.08,4.42,4.41), (2.37,4.76,2.7,5.09), (2.37,4.76,2.7,5.09)])
R(scs130hd_mpr2ca_8, met3, [(2.72,0.67,3.065,0.69), (2.72,0.67,3.065,0.69), (2.62,0.69,3.065,0.7), (2.62,0.69,3.065,0.7), (2.26,0.7,3.065,1), (2.26,0.7,3.065,1), (2.72,1,3.065,1.01), (2.72,1,3.065,1.01), (4.76,1.01,5.1,1.02), (4.76,1.01,5.1,1.02), (4.76,1.02,5.105,1.04), (4.76,1.02,5.105,1.04), (4.76,1.04,5.57,1.34), (4.76,1.04,5.57,1.34), (4.76,1.34,5.105,1.35), (4.76,1.34,5.105,1.35), (4.07,1.35,4.41,1.38), (4.07,1.35,4.41,1.38), (4.77,1.35,5.105,1.355), (4.77,1.35,5.105,1.355), (3.6,1.38,4.41,1.68), (3.6,1.38,4.41,1.68), (4.07,1.68,4.41,1.7), (4.07,1.68,4.41,1.7), (4.78,1.99,5.08,2.03), (4.78,1.99,5.08,2.03), (4.76,2.03,5.105,2.06), (4.76,2.03,5.105,2.06), (4.76,2.06,5.57,2.36), (4.76,2.06,5.57,2.36), (4.76,2.36,5.105,2.37), (4.76,2.36,5.105,2.37), (4.77,2.37,5.105,2.38), (4.77,2.37,5.105,2.38), (3.4,3.05,3.745,3.08), (3.4,3.05,3.745,3.08), (3.4,3.08,4.21,3.38), (3.4,3.08,4.21,3.38), (3.4,3.38,3.745,3.395), (3.4,3.38,3.745,3.395), (3.04,4.07,3.38,4.1), (3.04,4.07,3.38,4.1), (4.08,4.07,4.42,4.08), (4.08,4.07,4.42,4.08), (4.08,4.08,4.425,4.1), (4.08,4.08,4.425,4.1), (2.58,4.1,3.38,4.4), (2.58,4.1,3.38,4.4), (4.08,4.1,4.89,4.4), (4.08,4.1,4.89,4.4), (3.04,4.4,3.38,4.415), (3.04,4.4,3.38,4.415), (4.08,4.4,4.425,4.415), (4.08,4.4,4.425,4.415), (2.37,4.72,2.705,4.75), (2.37,4.72,2.705,4.75), (2.36,4.75,2.705,4.78), (2.36,4.75,2.705,4.78), (1.9,4.78,2.705,5.06), (1.9,4.78,2.705,5.06), (1.9,5.06,2.7,5.08), (1.9,5.06,2.7,5.08), (2.34,5.08,2.7,5.09), (2.34,5.08,2.7,5.09), (2.34,5.09,2.68,5.19), (2.34,5.09,2.68,5.19)])
R(scs130hd_mpr2ca_8, hvtp, [(2.02,1.3,3,1.37), (2.02,1.3,3,1.37), (4.79,1.3,5.3,1.32), (4.79,1.3,5.3,1.32), (5.73,1.3,6.6,2.34), (5.73,1.3,6.6,2.34), (3.43,1.32,5.3,2.1), (3.43,1.32,5.3,2.1), (1.12,1.37,3,2.08), (1.12,1.37,3,2.08), (0.21,1.88,0.72,2.29), (0.21,1.88,0.72,2.29), (1.12,2.08,2.05,2.15), (1.12,2.08,2.05,2.15), (2.49,2.08,3,2.63), (2.49,2.08,3,2.63), (4.79,2.1,5.3,2.34), (4.79,2.1,5.3,2.34), (0.21,2.29,0.995,2.66), (0.21,2.29,0.995,2.66), (4.79,2.34,6.6,2.66), (4.79,2.34,6.6,2.66), (1.98,2.63,3,2.66), (1.98,2.63,3,2.66), (0.615,2.66,0.995,2.77), (0.615,2.66,0.995,2.77), (1.98,2.66,2.87,2.98), (1.98,2.66,2.87,2.98), (4.83,2.66,5.935,3.09), (4.83,2.66,5.935,3.09), (0.615,2.77,1.4,2.98), (0.615,2.77,1.4,2.98), (3.47,2.77,4.4,4.13), (3.47,2.77,4.4,4.13), (0.615,2.98,2.87,3.01), (0.615,2.98,2.87,3.01), (0.615,3.01,2.36,3.14), (0.615,3.01,2.36,3.14), (4.83,3.09,5.76,4.13), (4.83,3.09,5.76,4.13), (0.89,3.14,2.36,3.76), (0.89,3.14,2.36,3.76), (0.89,3.76,1.4,4.13), (0.89,3.76,1.4,4.13)])
R(scs130hd_mpr2ca_8, stdcell_id, [(0,0,6.9,5.44), (0,0,6.9,5.44)])
R(scs130hd_mpr2ca_8, nsdm, [(2.285,0.105,6.865,0.135), (2.285,0.105,6.865,0.135), (0.945,0.135,6.865,0.315), (0.945,0.135,6.865,0.315), (0.79,0.315,6.865,0.335), (0.79,0.315,6.865,0.335), (0.005,0.335,6.865,0.775), (0.005,0.335,6.865,0.775), (0.005,0.775,3.205,0.805), (0.005,0.775,3.205,0.805), (4.595,0.775,6.865,1.005), (4.595,0.775,6.865,1.005), (0.005,0.805,0.925,1.005), (0.005,0.805,0.925,1.005), (2.265,0.805,3.205,1.005), (2.265,0.805,3.205,1.005), (0.665,4.425,1.605,4.515), (0.665,4.425,1.605,4.515), (3.225,4.425,5.965,5.325), (3.225,4.425,5.965,5.325), (0.665,4.515,2.585,5.185), (0.665,4.515,2.585,5.185), (0.665,5.185,1.605,5.325), (0.665,5.185,1.605,5.325)])
R(scs130hd_mpr2ca_8, psdm, [(1.825,1.355,3.205,1.375), (1.825,1.355,3.205,1.375), (4.6,1.355,6.805,1.375), (4.6,1.355,6.805,1.375), (1.825,1.375,6.805,1.425), (1.825,1.375,6.805,1.425), (0.915,1.425,6.805,1.825), (0.915,1.425,6.805,1.825), (0.655,1.825,6.805,1.935), (0.655,1.825,6.805,1.935), (0.005,1.935,6.805,2.045), (0.005,1.935,6.805,2.045), (0.005,2.045,3.56,2.095), (0.005,2.045,3.56,2.095), (4.405,2.045,6.805,2.605), (4.405,2.045,6.805,2.605), (0.005,2.095,1.185,2.205), (0.005,2.095,1.185,2.205), (1.925,2.095,3.56,2.27), (1.925,2.095,3.56,2.27), (0.005,2.205,0.925,2.605), (0.005,2.205,0.925,2.605), (2.285,2.27,3.56,2.525), (2.285,2.27,3.56,2.525), (2.285,2.525,3.6,2.605), (2.285,2.525,3.6,2.605), (0.475,2.605,0.925,2.825), (0.475,2.605,0.925,2.825), (2.83,2.605,3.6,2.825), (2.83,2.605,3.6,2.825), (4.405,2.605,5.965,2.825), (4.405,2.605,5.965,2.825), (0.475,2.825,1.605,3.035), (0.475,2.825,1.605,3.035), (2.83,2.825,5.965,2.905), (2.83,2.825,5.965,2.905), (3.225,2.905,5.965,4.075), (3.225,2.905,5.965,4.075), (0.475,3.035,2.585,3.705), (0.475,3.035,2.585,3.705), (0.475,3.705,1.655,4.075), (0.475,3.705,1.655,4.075)])
R(scs130hd_mpr2ca_8, npc, [(3.29,0.74,3.66,1.11), (3.29,0.74,3.66,1.11), (4.34,0.94,4.71,0.97), (4.34,0.94,4.71,0.97), (0.07,0.97,0.44,1.71), (0.07,0.97,0.44,1.71), (1.01,0.97,1.38,1.34), (1.01,0.97,1.38,1.34), (2.04,0.97,2.89,1.34), (2.04,0.97,2.89,1.34), (4.34,0.97,5.19,1.31), (4.34,0.97,5.19,1.31), (5.6,0.97,5.97,1.34), (5.6,0.97,5.97,1.34), (6.44,0.97,6.81,1.34), (6.44,0.97,6.81,1.34), (4.82,1.31,5.19,1.34), (4.82,1.31,5.19,1.34), (1.69,2.11,2.06,2.48), (1.69,2.11,2.06,2.48), (3.98,2.11,4.35,2.48), (3.98,2.11,4.35,2.48), (0.87,4.09,1.78,4.46), (0.87,4.09,1.78,4.46), (2.12,4.09,2.49,4.46), (2.12,4.09,2.49,4.46), (3.54,4.09,4.49,4.46), (3.54,4.09,4.49,4.46), (4.86,4.09,5.75,4.46), (4.86,4.09,5.75,4.46)])
R(scs130hd_mpr2ca_8, boundary, [(0,0,6.9,5.44), (0,0,6.9,5.44)])
scs130hd_mpr2ca_8.add(gdstk.Label('VPB', (0.68,2.71), layer=64, texttype=5))
scs130hd_mpr2ca_8.add(gdstk.Label('VPB', (0.68,2.71), layer=64, texttype=5))
scs130hd_mpr2ca_8.add(gdstk.Label('VNB', (0.68,-0.01), layer=64, texttype=59))
scs130hd_mpr2ca_8.add(gdstk.Label('VNB', (0.69,5.43), layer=64, texttype=59))
scs130hd_mpr2ca_8.add(gdstk.Label('VNB', (0.68,-0.01), layer=64, texttype=59))
scs130hd_mpr2ca_8.add(gdstk.Label('VNB', (0.69,5.43), layer=64, texttype=59))
scs130hd_mpr2ca_8.add(gdstk.Label('R2', (2.895,0.845), layer=68, texttype=5))
scs130hd_mpr2ca_8.add(gdstk.Label('vgnd', (0.91,5.43), layer=68, texttype=5))
scs130hd_mpr2ca_8.add(gdstk.Label('vgnd', (0.89,0.01), layer=68, texttype=5))
scs130hd_mpr2ca_8.add(gdstk.Label('vpwr', (0.88,2.72), layer=68, texttype=5))
scs130hd_mpr2ca_8.add(gdstk.Label('R2', (2.895,0.845), layer=68, texttype=5))
scs130hd_mpr2ca_8.add(gdstk.Label('vgnd', (0.91,5.43), layer=68, texttype=5))
scs130hd_mpr2ca_8.add(gdstk.Label('vgnd', (0.89,0.01), layer=68, texttype=5))
scs130hd_mpr2ca_8.add(gdstk.Label('vpwr', (0.88,2.72), layer=68, texttype=5))
scs130hd_mpr2ca_8.add(gdstk.Label('A1', (4.255,4.245), layer=70, texttype=5))
scs130hd_mpr2ca_8.add(gdstk.Label('B1', (4.935,2.205), layer=70, texttype=5))
scs130hd_mpr2ca_8.add(gdstk.Label('R3', (4.935,1.185), layer=70, texttype=5))
scs130hd_mpr2ca_8.add(gdstk.Label('R1', (4.235,1.525), layer=70, texttype=5))
scs130hd_mpr2ca_8.add(gdstk.Label('R0', (3.575,3.225), layer=70, texttype=5))
scs130hd_mpr2ca_8.add(gdstk.Label('B0', (2.535,4.925), layer=70, texttype=5))
scs130hd_mpr2ca_8.add(gdstk.Label('A0', (3.215,4.245), layer=70, texttype=5))
scs130hd_mpr2ca_8.add(gdstk.Label('A1', (4.255,4.245), layer=70, texttype=5))
scs130hd_mpr2ca_8.add(gdstk.Label('B1', (4.935,2.205), layer=70, texttype=5))
scs130hd_mpr2ca_8.add(gdstk.Label('R3', (4.935,1.185), layer=70, texttype=5))
scs130hd_mpr2ca_8.add(gdstk.Label('R1', (4.235,1.525), layer=70, texttype=5))
scs130hd_mpr2ca_8.add(gdstk.Label('R0', (3.575,3.225), layer=70, texttype=5))
scs130hd_mpr2ca_8.add(gdstk.Label('B0', (2.535,4.925), layer=70, texttype=5))
scs130hd_mpr2ca_8.add(gdstk.Label('A0', (3.215,4.245), layer=70, texttype=5))

lib.write_gds('scs130hd_mpr2ca_8.gds')
